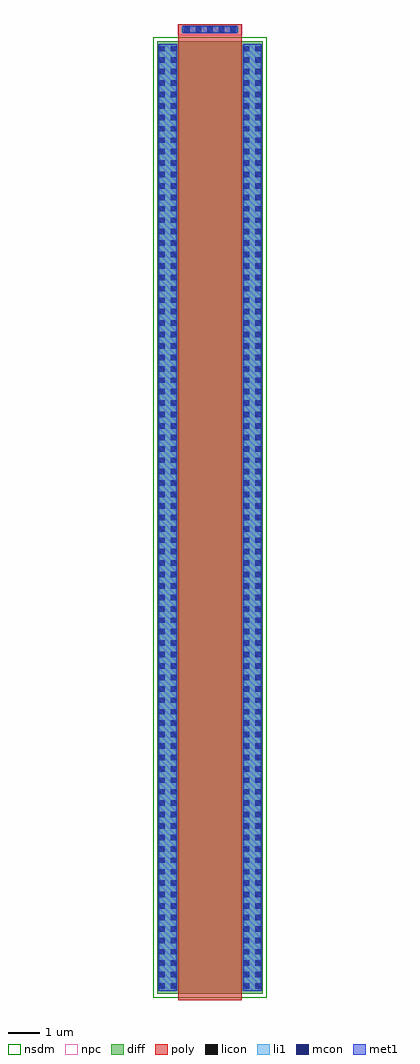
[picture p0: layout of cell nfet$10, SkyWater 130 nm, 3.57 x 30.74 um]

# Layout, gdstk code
import gdstk
lib = gdstk.Library(unit=1e-6, precision=1e-09)
def R(c, l, rs):  # rectangles x0, y0, x1, y1
    for r in rs: c.add(gdstk.rectangle(r[:2], r[2:], *l))
def A(c, l, x, y, w, h, nx, ny, dx, dy):  # array of equal rectangles
    R(c, l, [(x+i*dx, y+j*dy, x+i*dx+w, y+j*dy+h) for i in range(nx) for j in range(ny)])
diff = (65, 20)
poly = (66, 20)
licon = (66, 44)
li1 = (67, 20)
mcon = (67, 44)
met1 = (68, 20)
nsdm = (93, 44)
npc = (95, 20)

nfet_10 = lib.new_cell('nfet$10')
R(nfet_10, diff, [(0,0,3.32,30)])
R(nfet_10, poly, [(0.66,-0.2,2.66,30.2), (0.66,30.2,2.66,30.53)])
A(nfet_10, licon, 0.065, 0.155, 0.17, 0.17, 1, 83, 0, 0.36)
A(nfet_10, licon, 0.425, 0.155, 0.17, 0.17, 1, 83, 0, 0.36)
A(nfet_10, licon, 2.725, 0.155, 0.17, 0.17, 1, 83, 0, 0.36)
A(nfet_10, licon, 3.085, 0.155, 0.17, 0.17, 1, 83, 0, 0.36)
A(nfet_10, licon, 0.855, 30.28, 0.17, 0.17, 5, 1, 0.36, 0)
R(nfet_10, li1, [(0.065,0.075,0.595,29.925), (2.725,0.075,3.255,29.925), (0.775,30.28,2.545,30.45)])
A(nfet_10, mcon, 0.065, 0.155, 0.17, 0.17, 1, 83, 0, 0.36)
A(nfet_10, mcon, 0.425, 0.155, 0.17, 0.17, 1, 83, 0, 0.36)
A(nfet_10, mcon, 2.725, 0.155, 0.17, 0.17, 1, 83, 0, 0.36)
A(nfet_10, mcon, 3.085, 0.155, 0.17, 0.17, 1, 83, 0, 0.36)
A(nfet_10, mcon, 0.855, 30.28, 0.17, 0.17, 5, 1, 0.36, 0)
R(nfet_10, met1, [(0.035,0.095,0.625,29.905), (2.695,0.095,3.285,29.905), (0.795,30.25,2.525,30.48)])
R(nfet_10, nsdm, [(-0.125,-0.125,3.445,30.125)])
R(nfet_10, npc, [(0.65,30.19,2.67,30.54)])

lib.write_gds('nfet_10.gds')
